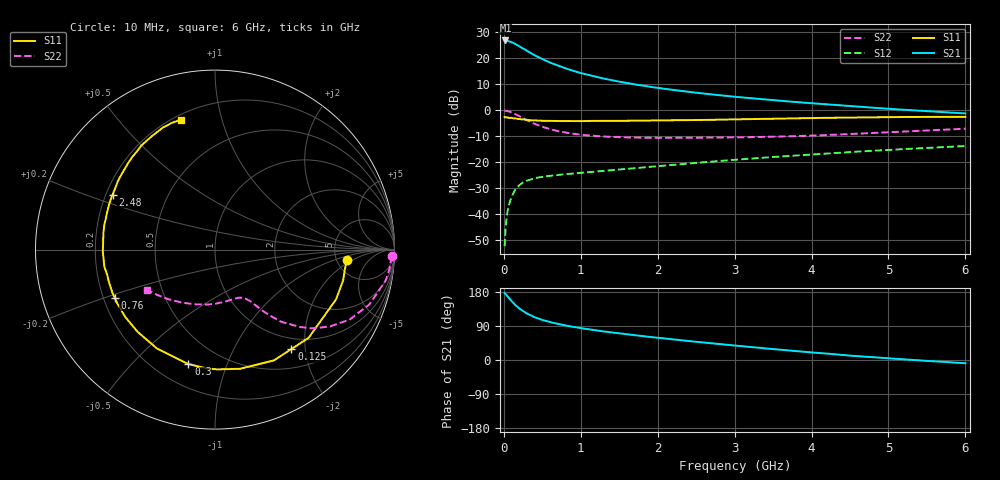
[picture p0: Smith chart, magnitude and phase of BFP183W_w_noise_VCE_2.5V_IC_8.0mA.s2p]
! Infineon Technologies  Discrete & RF Semiconductors
! BFP183W
! VCE = 2.5 V,  IC =  8.0 mA
! Common Emitter S-Parameters:  Jan 2016
# GHz  S  MA  R  50
!  f  S11  S21  S12  S22
! GHz  MAG  ANG  MAG  ANG  MAG  ANG  MAG  ANG
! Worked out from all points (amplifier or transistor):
!   210 points, 10 MHz to 6 GHz, reference 50 ohm
!   highest |S21| = 26.9 dB at 20 MHz (marker M1)
!   |S21| within 3 dB of that: start of sweep to 243.3 MHz
!   unconditionally stable (mu >= 1): 1.453 GHz to 5.333 GHz
!   at 185 MHz: K = 0.19, MSG = 27.2 dB, |S12| = -29.4 dB
!   at 1.52 GHz: K = 1.02, MAG = 15.9 dB, |S12| = -22.8 dB
!   at 6 GHz: K = 0.97, MSG = 6.3 dB, |S12| = -13.8 dB
!   lowest NFmin = 1.30 dB at 450 MHz
!   S11 on the Smith chart (normalised r, x): 10 MHz: 6.21, -1.54; 125 MHz: 0.80, -1.74; 300 MHz: 0.33, -0.74; 760 MHz: 0.25, -0.21; 2.48 GHz: 0.23, +0.24; 6 GHz: 0.23, +0.75
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0.01  0.7369 -4.4  22.08 176.7  0.0024 91.9  0.9862 -2.1
0.02  0.7315 -9.1  22.15 174.9  0.0045 84.2  0.9806 -4.2
0.05  0.7291 -22.4  21.78 167.2  0.0117 78.4  0.9661 -10.3
0.085  0.7104 -37.0  20.84 159.1  0.0183 71.0  0.9264 -16.6
0.1  0.7168 -43.3  20.57 155.5  0.0212 69.3  0.913 -19.5
0.125  0.6986 -52.5  19.67 150.4  0.0254 64.7  0.8767 -23.4
0.15  0.6992 -62.0  18.95 144.8  0.0297 61.5  0.8447 -27.6
0.2  0.6787 -78.1  17.14 135.9  0.0357 54.9  0.7705 -33.7
0.26  0.6636 -93.9  15.15 127.6  0.0414 49.1  0.6905 -39.4
0.3  0.6548 -103.1  13.91 122.5  0.044 45.9  0.6407 -42.3
0.4  0.639 -120.4  11.49 112.8  0.0489 40.5  0.5467 -47.4
0.5  0.6291 -133.2  9.672 105.6  0.0522 37.8  0.4794 -50.2
0.6  0.6251 -143.0  8.291 99.9  0.0545 36.0  0.4315 -52.1
0.76  0.6199 -154.5  6.762 92.8  0.0577 35.3  0.382 -54.0
1.02  0.6182 -167.9  5.125 83.5  0.0625 35.9  0.336 -56.7
1.4  0.6243 178.4  3.8 72.7  0.07 38.2  0.3074 -60.7
2.02  0.6353 161.7  2.675 58.3  0.084 41.7  0.2939 -69.6
2.48  0.6475 151.8  2.196 48.5  0.0961 43.0  0.2947 -77.7
3.1  0.6708 140.0  1.767 36.4  0.1139 43.1  0.3011 -90.0
4.1  0.7124 124.0  1.332 18.5  0.1438 40.9  0.3288 -112.9
5.1  0.7402 112.2  1.045 3.1  0.1753 36.7  0.3833 -134.7
6  0.748 104.6  0.869 -8.6  0.2044 32.4  0.4412 -149.7
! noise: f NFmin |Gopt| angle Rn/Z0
0.45  1.3  0.17  43  0.21
0.9  1.35  0.21  115  0.2
1.8  2.05  0.33  -177  0.14
